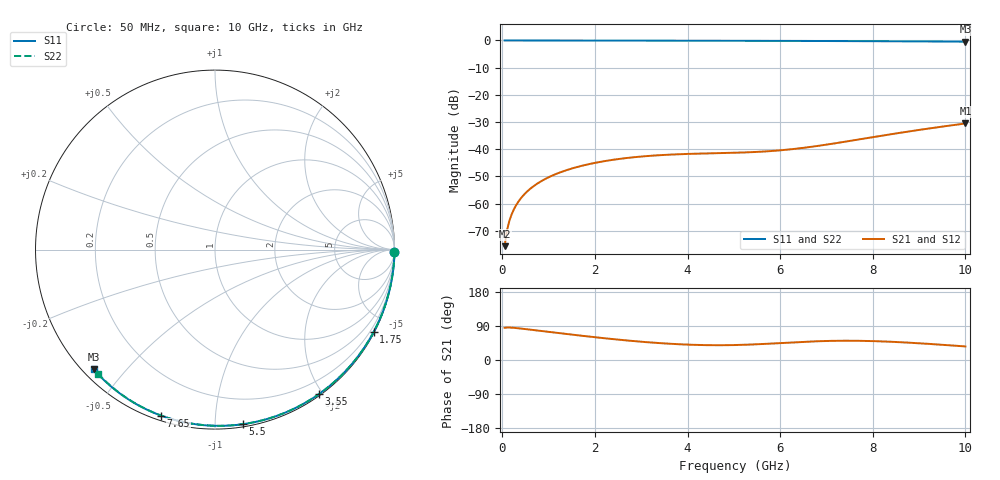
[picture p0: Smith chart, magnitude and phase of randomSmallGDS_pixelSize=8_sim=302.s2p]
! freq	dB(S11)	phase(S11)	dB(S12)	phase(S12)
!  dB(S21)	phase(S21)	dB(S22)	phase(S22)
!S-par simulation data
#  GHz  S  DB  R 50
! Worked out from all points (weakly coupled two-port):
!   200 points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, 50 MHz to 10 GHz, reference 50 ohm
!   highest |S21| = -30.52 dB at 10 GHz (marker M1); lowest = -75.6 dB at 50 MHz (marker M2)
!   lowest |S11| = -0.5 dB at 10 GHz (marker M3), VSWR 38.60, Z = 1.51 - j20.5 ohm
!   |S11| at or under -10 dB: nowhere
!   |S22| runs from -0.4 to 0.0 dB; largest |S21 - S12| = 0
!   S11 on the Smith chart (normalised r, x): 50 MHz: open; 1.75 GHz: 0.04, -4.10; 3.55 GHz: 0.02, -1.95; 5.5 GHz: 0.02, -1.17; 7.65 GHz: 0.02, -0.73; 10 GHz: 0.03, -0.41
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0.05  -0.00 -0.8  -75.61 85.0  -75.61 85.0  -0.00 -0.8
0.1  -0.00 -1.6  -69.89 85.6  -69.89 85.6  -0.00 -1.6
0.15  -0.00 -2.4  -66.45 85.6  -66.45 85.6  -0.00 -2.4
0.2  -0.00 -3.2  -63.99 85.3  -63.99 85.3  -0.00 -3.1
0.25  -0.00 -4.0  -62.07 84.8  -62.07 84.8  -0.00 -3.9
0.35  -0.00 -5.6  -59.18 83.7  -59.18 83.7  -0.00 -5.5
0.5  -0.01 -7.9  -56.12 81.6  -56.12 81.6  -0.01 -7.8
0.7  -0.01 -11.1  -53.26 78.7  -53.26 78.7  -0.01 -10.9
1  -0.02 -15.8  -50.29 74.3  -50.29 74.3  -0.02 -15.6
1.35  -0.03 -21.2  -47.88 69.2  -47.88 69.2  -0.03 -20.9
1.75  -0.04 -27.4  -45.93 63.5  -45.93 63.5  -0.03 -27.0
2.5  -0.05 -38.8  -43.60 53.8  -43.60 53.8  -0.05 -38.2
3.4  -0.07 -52.0  -42.16 44.5  -42.16 44.5  -0.07 -51.3
3.55  -0.07 -54.2  -42.02 43.3  -42.02 43.3  -0.07 -53.4
4.3  -0.09 -64.8  -41.56 39.5  -41.56 39.5  -0.09 -63.8
5.05  -0.11 -75.1  -41.26 39.6  -41.26 39.6  -0.11 -73.9
5.5  -0.13 -81.0  -40.96 41.5  -40.96 41.5  -0.13 -79.8
6.05  -0.15 -88.2  -40.31 45.0  -40.31 45.0  -0.15 -86.9
6.7  -0.19 -96.4  -39.03 49.0  -39.03 49.0  -0.18 -95.0
7.65  -0.24 -108.0  -36.52 50.7  -36.52 50.7  -0.24 -106.4
8.35  -0.29 -116.3  -34.58 48.4  -34.58 48.4  -0.29 -114.5
10  -0.45 -135.4  -30.52 35.8  -30.52 35.8  -0.44 -133.2
